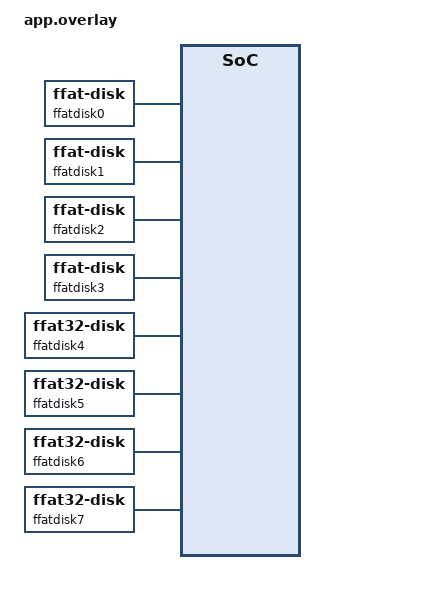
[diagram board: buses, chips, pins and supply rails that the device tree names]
/*
 * Copyright (c) 2023 Nordic Semiconductor ASA
 *
 * SPDX-License-Identifier: Apache-2.0
 */

/ {
	ffatdisk0 {
		compatible = "zephyr,ffat-disk";
		disk-name = "RAM";
		sector-size = <512>;
		sector-count = <32680>;
		sector-per-cluster = <1>;
	};

	ffatdisk1 {
		compatible = "zephyr,ffat-disk";
		disk-name = "NAND";
		sector-size = <512>;
		sector-count = <262144>;
		sector-per-cluster = <4>;
	};

	ffatdisk2 {
		compatible = "zephyr,ffat-disk";
		disk-name = "CF";
		sector-size = <1024>;
		sector-count = <524288>;
		sector-per-cluster = <8>;
	};

	ffatdisk3 {
		compatible = "zephyr,ffat-disk";
		disk-name = "SD";
		sector-size = <4096>;
		sector-count = <1048576>;
		sector-per-cluster = <32>;
	};

	ffatdisk4 {
		compatible = "zephyr,ffat32-disk", "zephyr,ffat-disk";
		disk-name = "SD2";
		sector-size = <512>;
		sector-count = <131072>;
		sector-per-cluster = <1>;
	};

	ffatdisk5 {
		compatible = "zephyr,ffat32-disk", "zephyr,ffat-disk";
		disk-name = "USB";
		sector-size = <512>;
		sector-count = <524288>;
		sector-per-cluster = <4>;
	};

	ffatdisk6 {
		compatible = "zephyr,ffat32-disk", "zephyr,ffat-disk";
		disk-name = "USB2";
		sector-size = <1024>;
		sector-count = <1048576>;
		sector-per-cluster = <8>;
	};

	ffatdisk7 {
		compatible = "zephyr,ffat32-disk", "zephyr,ffat-disk";
		disk-name = "USB3";
		sector-size = <4096>;
		sector-count = <16777216>;
		sector-per-cluster = <64>;
	};
};
